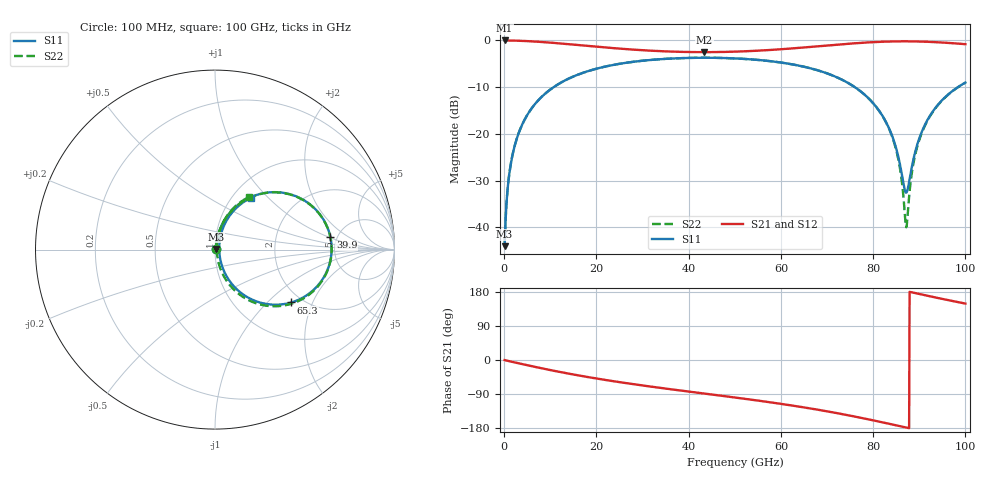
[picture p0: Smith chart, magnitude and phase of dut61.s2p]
! Touchstone file exported from HFSS 2026.1.0
!  File:  C:/ffzhzh/LocalFiles/Ansys_Project_Files/temp_train_RDL_61_1783498456_41296.aedt
!  Generated:  04:15:36 PM Jul  8, 2026
!  Design:  RDL
!  Project:  temp_train_RDL_61_1783498456_41296
! Variables:
!  h_bsmrdl = 2um
!  h_ox = 20um
!  h_rdl = 5um
!  h_sub = 80um
!  h_tmrdl = 3.42um
!  h_tsv = 80um
!  h_via = 3um
!  l_bsmrdl = 300um
!  l_sub = 1094.01um
!  l_tmrdl = 694.01um
!  m_sub = 200um
!  pitch = 44.48um
!  r_tsv = 6um
!  s_tmrdl = 10um
!  w_bsmrdl = 18um
!  w_sub = 500um
!  w_tmrdl = 13.78um
!  x_tsv_center1 = 700.9um
!  x_tsv_center2 = 1018.9um
!  x_tsv_center3 = 1726.69um
!  x_tsv_center4 = 2044.69um
!  x_tsv_center5 = 2752.48um
!  x_tsv_center6 = 3070.48um
# GHz S MA R 50.000000
! Terminal data exported
! Port[1] = TM_RDL1_1_T1
! Port[2] = TM_RDL1_1_T2
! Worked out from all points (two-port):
!   1000 points, 100 MHz to 100 GHz, reference 50 ohm
!   highest |S21| = -0.05 dB at 100 MHz (marker M1); lowest = -2.5 dB at 43.4 GHz (marker M2)
!   |S21| within 3 dB of the highest: start of sweep to end of sweep
!   lowest |S11| = -44.0 dB at 100 MHz (marker M3), VSWR 1.01, Z = 50.5 + j0.346 ohm
!   |S11| at or under -10 dB: start of sweep to 10.77 GHz; 75.98 GHz to 98.41 GHz (22.42 GHz wide, 25.7 % of centre)
!   |S22| runs from -44.0 to -3.7 dB; largest |S21 - S12| = 1.7e-14
!   S11 on the Smith chart (normalised r, x): 100 MHz: 1.01, +0.01; 39.9 GHz: 4.40, +1.05; 65.3 GHz: 1.75, -1.41; 100 GHz: 1.21, +0.80
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0.1  0.006288 32.9  0.9947 -0.3  0.9947 -0.3  0.006288 32.9
! Gamma 0 0 0 0
! Port Impedance 50 0 50 0
0.9  0.0304 75.9  0.9934 -2.5  0.9934 -2.5  0.0304 75.8
1.5  0.04945 78.3  0.9924 -4.2  0.9924 -4.2  0.04945 78.3
2.6  0.08438 78.0  0.9895 -7.2  0.9895 -7.2  0.08438 78.0
4.1  0.1312 75.3  0.9835 -11.3  0.9835 -11.3  0.1312 75.2
9  0.2714 63.6  0.9512 -24.1  0.9512 -24.1  0.2714 63.5
16.8  0.4435 46.1  0.8818 -42.2  0.8818 -42.2  0.4436 45.9
33.4  0.6249 16.2  0.7663 -72.8  0.7663 -72.8  0.625 15.8
39.9  0.6469 6.2  0.7486 -83.1  0.7486 -83.1  0.6471 5.7
43.4  0.6499 0.9  0.7462 -88.6  0.7462 -88.6  0.6501 0.4
50.1  0.639 -9.2  0.7553 -99.0  0.7553 -99.0  0.6392 -9.9
65.3  0.5169 -34.8  0.8393 -125.7  0.8393 -125.7  0.5172 -36.0
66.7  0.4969 -37.4  0.8506 -128.5  0.8506 -128.5  0.4971 -38.7
77.2  0.2863 -58.6  0.9364 -152.2  0.9364 -152.2  0.2863 -61.3
83.4  0.1158 -67.3  0.9687 -168.1  0.9687 -168.1  0.1146 -74.1
85.4  0.0583 -60.5  0.9729 -173.5  0.9729 -173.5  0.05506 -73.9
86.9  0.0247 -16.5  0.9737 -177.5  0.9737 -177.5  0.01314 -38.9
87.2  0.02348 4.3  0.9737 -178.3  0.9737 -178.3  0.01 4.3
88.9  0.05795 62.7  0.9717 177.1  0.9717 177.1  0.05319 75.5
91  0.1181 69.6  0.9658 171.5  0.9658 171.5  0.1155 75.9
94.7  0.2221 65.6  0.9472 161.9  0.9472 161.9  0.2204 68.7
100  0.3527 55.1  0.9077 149.0  0.9077 149.0  0.3515 56.9
